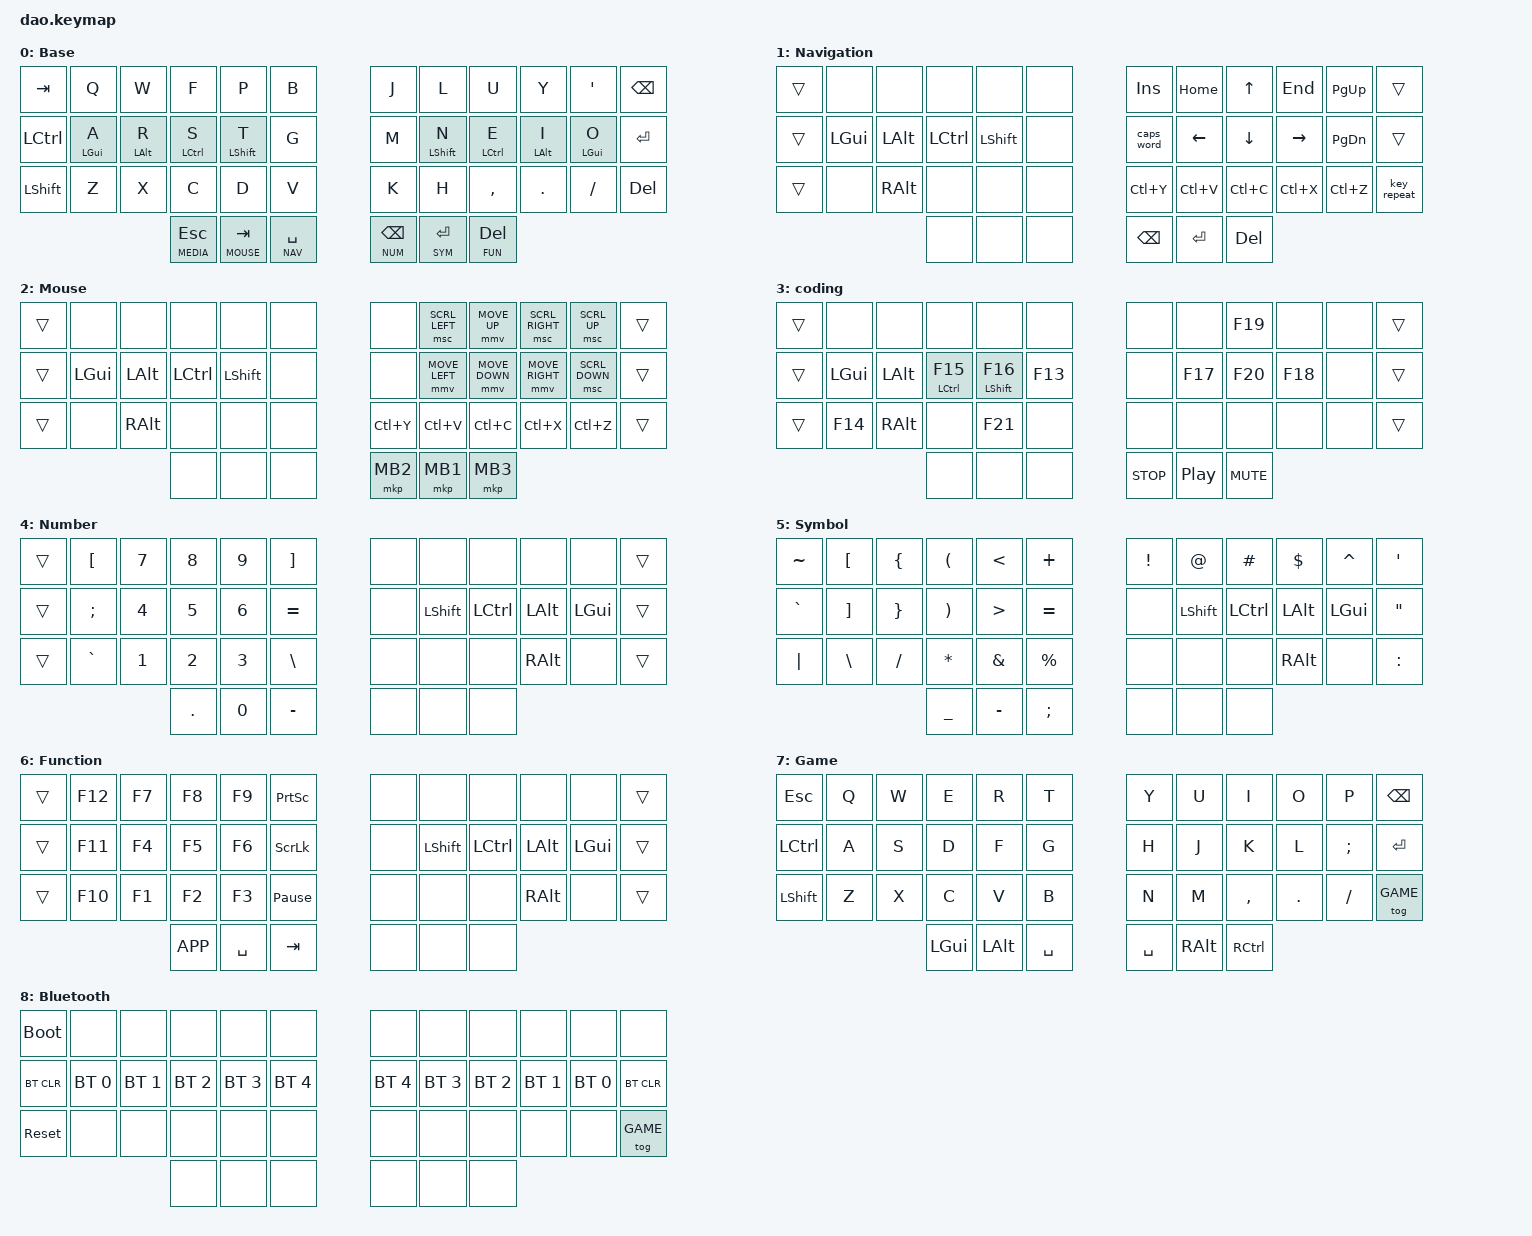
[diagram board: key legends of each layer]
/*
 * Copyright (c) 2021 Rafael Yumagulov
 * Miryoku-style adaptation for the Dao/Zireael keyboard
 *
 * SPDX-License-Identifier: MIT
 */

#include <dt-bindings/zmk/mouse.h>
#include <behaviors.dtsi>
#include <dt-bindings/zmk/bt.h>
#include <dt-bindings/zmk/keys.h>
#include <dt-bindings/zmk/pointing.h>

#define BASE  0
#define NAV   1
#define MOUSE 2
#define MEDIA 3
#define NUM   4
#define SYM   5
#define FUN   6
#define GAME  7
#define BT    8

/* Logical key positions after the Dao matrix transform. */

#define LEFT_HAND_KEYS  0 1 2 3 4 5 12 13 14 15 16 17 24 25 26 27 28 29 36 37 38
#define RIGHT_HAND_KEYS 6 7 8 9 10 11 18 19 20 21 22 23 30 31 32 33 34 35 39 40 41
#define POS_LEFT_OUTER_THUMB  36
#define POS_RIGHT_OUTER_THUMB 41

/* Miryoku mouse-key acceleration. */

&mmv {
    acceleration-exponent = <1>;
    time-to-max-speed-ms = <1500>;
    delay-ms = <0>;
};

/ {
    chosen { zmk,matrix_transform = &default_transform; };

    behaviors {
        /*
         * Mirrored home-row modifiers. Same-hand rolls resolve as taps;
         * an opposite-hand key can trigger the modifier hold.
         */

        lhm: left_home_row_mod {
            compatible = "zmk,behavior-hold-tap";
            #binding-cells = <2>;
            tapping-term-ms = <200>;
            quick-tap-ms = <175>;
            require-prior-idle-ms = <150>;
            flavor = "tap-preferred";
            hold-trigger-key-positions = <RIGHT_HAND_KEYS>;
            hold-trigger-on-release;
            bindings = <&kp>, <&kp>;
        };

        rhm: right_home_row_mod {
            compatible = "zmk,behavior-hold-tap";
            #binding-cells = <2>;
            tapping-term-ms = <200>;
            quick-tap-ms = <175>;
            require-prior-idle-ms = <150>;
            flavor = "tap-preferred";
            hold-trigger-key-positions = <LEFT_HAND_KEYS>;
            hold-trigger-on-release;
            bindings = <&kp>, <&kp>;
        };

        mlt: miryoku_layer_tap {
            compatible = "zmk,behavior-hold-tap";
            #binding-cells = <2>;
            tapping-term-ms = <200>;
            flavor = "tap-preferred";
            bindings = <&mo>, <&kp>;
        };
    };

    combos {
        compatible = "zmk,combos";

        /* Hold both physical outer thumb keys to use the BT layer. */

        bt_layer_combo {
            timeout-ms = <50>;
            key-positions = <POS_LEFT_OUTER_THUMB POS_RIGHT_OUTER_THUMB>;
            bindings = <&mo BT>;
            layers = <BASE GAME>;
        };
    };

    keymap {
        compatible = "zmk,keymap";

        base_layer {
            display-name = "Base";
            bindings = <
&kp TAB    &kp Q        &kp W        &kp F           &kp P           &kp B           &kp J          &kp L           &kp U         &kp Y        &kp SQT      &kp BSPC
&kp LCTRL  &lhm LGUI A  &lhm LALT R  &lhm LCTRL S    &lhm LSHFT T    &kp G           &kp M          &rhm LSHFT N    &rhm LCTRL E  &rhm LALT I  &rhm LGUI O  &kp ENTER
&kp LSHFT  &kp Z        &kp X        &kp C           &kp D           &kp V           &kp K          &kp H           &kp COMMA     &kp DOT      &kp SLASH    &kp DEL
                                     &mlt MEDIA ESC  &mlt MOUSE TAB  &mlt NAV SPACE  &mlt NUM BSPC  &mlt SYM ENTER  &mlt FUN DEL
            >;
        };

        navigation_layer {
            display-name = "Navigation";
            bindings = <
&trans  &none     &none     &none      &none      &none  &kp INS     &kp HOME   &kp UP     &kp END    &kp PG_UP  &trans
&trans  &kp LGUI  &kp LALT  &kp LCTRL  &kp LSHFT  &none  &caps_word  &kp LEFT   &kp DOWN   &kp RIGHT  &kp PG_DN  &trans
&trans  &none     &kp RALT  &none      &none      &none  &kp LC(Y)   &kp LC(V)  &kp LC(C)  &kp LC(X)  &kp LC(Z)  &key_repeat
                            &none      &none      &none  &kp BSPC    &kp ENTER  &kp DEL
            >;
        };

        mouse_layer {
            display-name = "Mouse";
            bindings = <
&trans  &none     &none     &none      &none      &none  &none      &msc SCRL_LEFT  &mmv MOVE_UP    &msc SCRL_RIGHT  &msc SCRL_UP    &trans
&trans  &kp LGUI  &kp LALT  &kp LCTRL  &kp LSHFT  &none  &none      &mmv MOVE_LEFT  &mmv MOVE_DOWN  &mmv MOVE_RIGHT  &msc SCRL_DOWN  &trans
&trans  &none     &kp RALT  &none      &none      &none  &kp LC(Y)  &kp LC(V)       &kp LC(C)       &kp LC(X)        &kp LC(Z)       &trans
                            &none      &none      &none  &mkp MB2   &mkp MB1        &mkp MB3
            >;
        };

        vscode_layer {
            display-name = "coding";
            bindings = <
&trans  &none     &none     &none                  &none                &none    &none       &none     &kp F19     &none    &none  &trans
&trans  &kp LGUI  &kp LALT  &lhm LEFT_CONTROL F15  &lhm LEFT_SHIFT F16  &kp F13  &none       &kp F17   &kp F20     &kp F18  &none  &trans
&trans  &kp F14   &kp RALT  &none                  &kp F21              &none    &none       &none     &none       &none    &none  &trans
                            &none                  &none                &none    &kp C_STOP  &kp C_PP  &kp C_MUTE
            >;
        };

        number_layer {
            display-name = "Number";
            bindings = <
&trans  &kp LBKT   &kp N7  &kp N8   &kp N9  &kp RBKT   &none  &none      &none      &none     &none     &trans
&trans  &kp SEMI   &kp N4  &kp N5   &kp N6  &kp EQUAL  &none  &kp LSHFT  &kp LCTRL  &kp LALT  &kp LGUI  &trans
&trans  &kp GRAVE  &kp N1  &kp N2   &kp N3  &kp BSLH   &none  &none      &none      &kp RALT  &none     &trans
                           &kp DOT  &kp N0  &kp MINUS  &none  &none      &none
            >;
        };

        symbol_layer {
            display-name = "Symbol";
            bindings = <
&kp TILDE  &kp LBKT  &kp LBRC   &kp LPAR   &kp LESS_THAN     &kp PLUS   &kp EXCL  &kp AT     &kp HASH   &kp DLLR  &kp CARET  &kp SQT
&kp GRAVE  &kp RBKT  &kp RBRC   &kp RPAR   &kp GREATER_THAN  &kp EQUAL  &none     &kp LSHFT  &kp LCTRL  &kp LALT  &kp LGUI   &kp DQT
&kp PIPE   &kp BSLH  &kp SLASH  &kp STAR   &kp AMPS          &kp PRCNT  &none     &none      &none      &kp RALT  &none      &kp COLON
                                &kp UNDER  &kp MINUS         &kp SEMI   &none     &none      &none
            >;
        };

        function_layer {
            display-name = "Function";
            bindings = <
&trans  &kp F12  &kp F7  &kp F8     &kp F9     &kp PSCRN        &none  &none      &none      &none     &none     &trans
&trans  &kp F11  &kp F4  &kp F5     &kp F6     &kp SLCK         &none  &kp LSHFT  &kp LCTRL  &kp LALT  &kp LGUI  &trans
&trans  &kp F10  &kp F1  &kp F2     &kp F3     &kp PAUSE_BREAK  &none  &none      &none      &kp RALT  &none     &trans
                         &kp K_APP  &kp SPACE  &kp TAB          &none  &none      &none
            >;
        };

        game_layer {
            display-name = "Game";
            bindings = <
&kp ESC    &kp Q  &kp W  &kp E     &kp R     &kp T      &kp Y      &kp U     &kp I      &kp O    &kp P      &kp BSPC
&kp LCTRL  &kp A  &kp S  &kp D     &kp F     &kp G      &kp H      &kp J     &kp K      &kp L    &kp SEMI   &kp ENTER
&kp LSHFT  &kp Z  &kp X  &kp C     &kp V     &kp B      &kp N      &kp M     &kp COMMA  &kp DOT  &kp SLASH  &tog GAME
                         &kp LGUI  &kp LALT  &kp SPACE  &kp SPACE  &kp RALT  &kp RCTRL
            >;
        };

        bluetooth_layer {
            display-name = "Bluetooth";
            bindings = <
&bootloader  &none         &none         &none         &none         &none         &none         &none         &none         &none         &none         &none
&bt BT_CLR   &bt BT_SEL 0  &bt BT_SEL 1  &bt BT_SEL 2  &bt BT_SEL 3  &bt BT_SEL 4  &bt BT_SEL 4  &bt BT_SEL 3  &bt BT_SEL 2  &bt BT_SEL 1  &bt BT_SEL 0  &bt BT_CLR
&sys_reset   &none         &none         &none         &none         &none         &none         &none         &none         &none         &none         &tog GAME
                                         &none         &none         &none         &none         &none         &none
            >;
        };
    };
};
